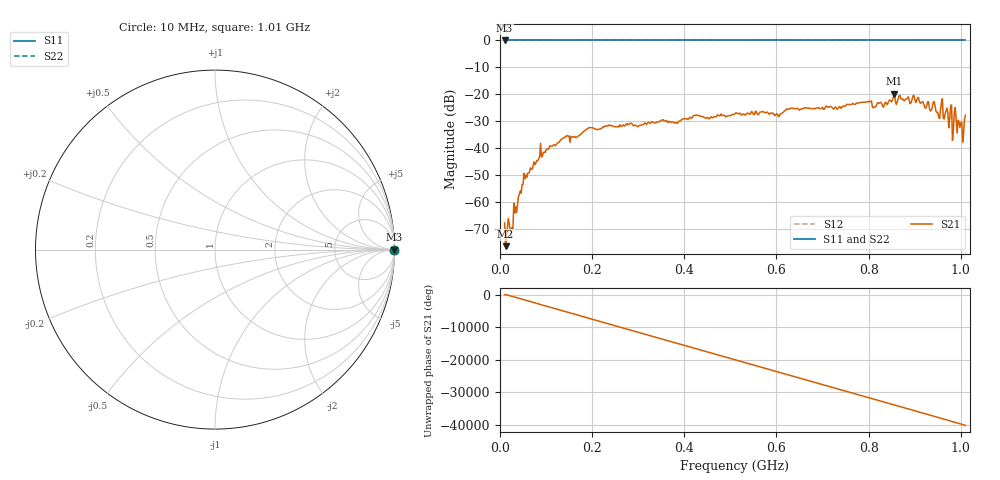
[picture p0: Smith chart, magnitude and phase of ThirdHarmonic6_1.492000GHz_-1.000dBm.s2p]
! 8/16/2025 5:29:32 PM
! C:\ANRITSUVNA\TEMP\TEMP.S2P
! CHANNEL.1
! TR.MEASUREMENT
! RAW.DATA
! RF.CORRECTION.OFF
! AVERAGING.OFF
! IF.BANDWIDTH: 5KHZ
! SWEEPTYPE:  FREQ.SWEEP(Linear)
! Reference Plane Port Info
! PORT:  PORT1  PORT2
! DISTANCE:  0  m  0  m
! TIME:  0  s  0  s
! PHASE.OFFSET:  0  deg.  0  deg.
! LOSS:  0  dB  0  dB
! REF.LOSS:  0  dB  0  dB
! REF.FREQ:  0  Hz  0  Hz
! Power Info
! POWER:  -20  dBm  -20  dBm
! EFF.POWER:  -20  dBm  -20  dBm
! SOURCE.ATTEN:  0  dB  0  dB
! TEST.ATTEN:  0  dB  0  dB
# GHZ S RI R 50.0
! FREQ.GHZ  S11RE  S11IM  S21RE  S21IM  S12RE  S12IM  S22RE  S22IM
!; PortSelection: Port_12
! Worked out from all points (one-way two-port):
!   501 points, 10 MHz to 1.01 GHz, reference 50 ohm
!   highest |S21| = -19.73 dB at 856 MHz (marker M1); lowest = -76.3 dB at 12 MHz (marker M2)
!   lowest |S11| = 0.0 dB at 10 MHz (marker M3)
!   |S11| at or under -10 dB: nowhere
!   |S22| runs from 0.0 to 0.0 dB; largest |S21 - S12| = 1.1
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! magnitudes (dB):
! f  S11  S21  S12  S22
! 10 MHz  0.0  -67.6  0.0  0.0
! 12 MHz  0.0  -76.3  0.0  0.0
! 24 MHz  0.0  -72.7  0.0  0.0
! 52 MHz  0.0  -49.3  0.0  0.0
! 84 MHz  0.0  -43.9  0.0  0.0
! 142 MHz  0.0  -35.8  0.0  0.0
! 178 MHz  0.0  -34.3  0.0  0.0
! 196 MHz  0.0  -32.3  0.0  0.0
! 344 MHz  0.0  -30.3  0.0  0.0
! 510 MHz  0.0  -27.2  0.0  0.0
! 602 MHz  0.0  -27.3  0.0  0.0
! 632 MHz  0.0  -25.1  0.0  0.0
! 678 MHz  0.0  -25.3  0.0  0.0
! 844 MHz  0.0  -22.3  0.0  0.0
! 856 MHz  0.0  -19.7  0.0  0.0
! 942 MHz  0.0  -22.7  0.0  0.0
! 950 MHz  0.0  -26.6  0.0  0.0
! 960 MHz  0.0  -21.6  0.0  0.0
! 986 MHz  0.0  -26.6  0.0  0.0
! 990 MHz  0.0  -29.9  0.0  0.0
! 1.002 GHz  0.0  -30.2  0.0  0.0
! 1.01 GHz  0.0  -27.7  0.0  0.0
